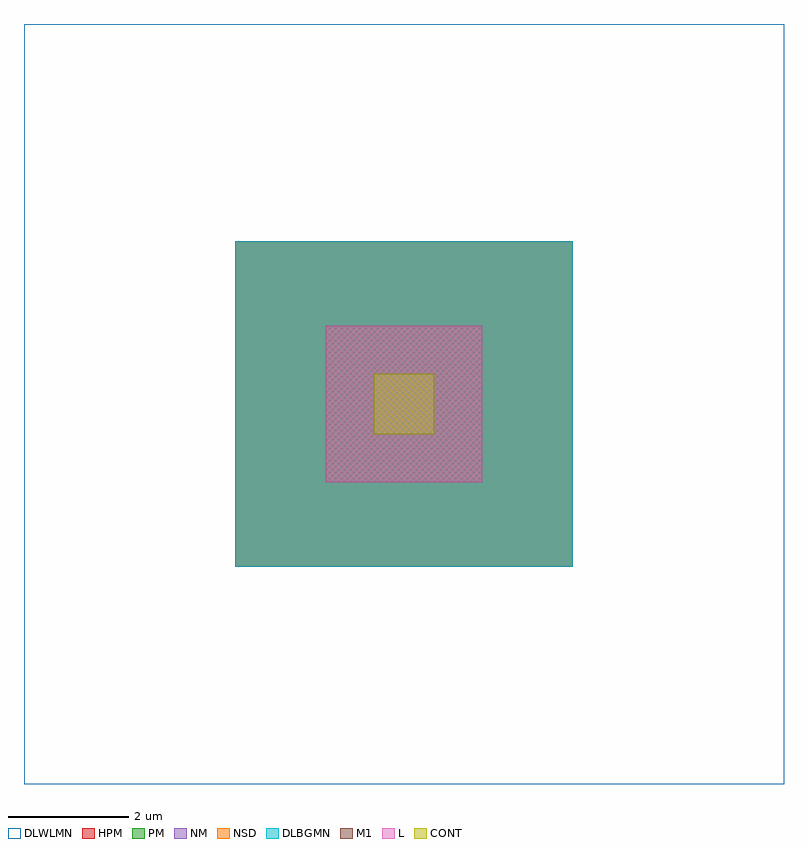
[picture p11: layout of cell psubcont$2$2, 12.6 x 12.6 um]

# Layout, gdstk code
import gdstk
lib = gdstk.Library(unit=1e-6, precision=1e-09)
def R(c, l, rs):  # rectangles x0, y0, x1, y1
    for r in rs: c.add(gdstk.rectangle(r[:2], r[2:], *l))
L = (3, 0)
NM = (7, 0)
CONT = (11, 0)
M1 = (13, 0)
NSD = (28, 0)
HPM = (33, 0)
PM = (35, 0)
DLWLMN = (151, 0)
DLBGMN = (178, 0)

dcont_1_5 = lib.new_cell('DCONT$1$5')
R(dcont_1_5, L, [(-1.3,-1.3,1.3,1.3)])
R(dcont_1_5, CONT, [(-0.5,-0.5,0.5,0.5)])
R(dcont_1_5, M1, [(-1.3,-1.3,1.3,1.3), (-0.5,-0.5,0.5,0.5)])

psubcont_2_2 = lib.new_cell('psubcont$2$2')
R(psubcont_2_2, NM, [(-2.8,-2.7,2.8,2.7)])
R(psubcont_2_2, NSD, [(-2.8,-2.7,2.8,2.7)])
R(psubcont_2_2, HPM, [(-2.8,-2.7,2.8,2.7)])
R(psubcont_2_2, PM, [(-2.8,-2.7,2.8,2.7)])
R(psubcont_2_2, DLWLMN, [(-6.3,-6.3,6.3,6.3)])
R(psubcont_2_2, DLBGMN, [(-2.8,-2.7,2.8,2.7)])
psubcont_2_2.add(gdstk.Reference(dcont_1_5, (0,0)))

lib.write_gds('psubcont_2_2.gds')
